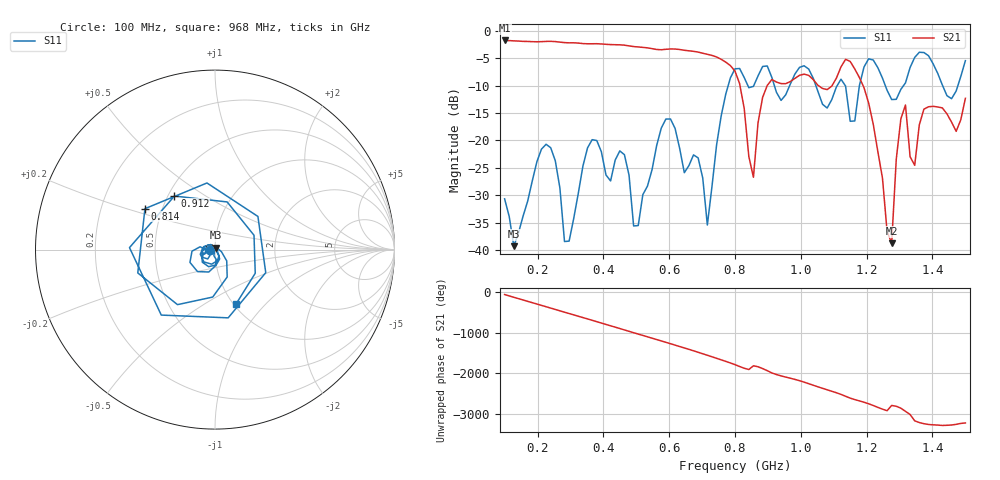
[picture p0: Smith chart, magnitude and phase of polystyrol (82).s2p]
! NanoVNA-App
! Date: 2025-09-26 09:42:31
! Start: 100MHz Stop: 1,5GHz Points: 101
! S-Parameter data: F S11 S21 S12 S22
# Hz S RI R 50
!  Frequency  S11_Real  S11_Imag  S21_Real  S21_Imag  S12_Real  S12_Imag  S22_Real  S22_Imag
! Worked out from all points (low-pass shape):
!   101 points, 100 MHz to 1.5 GHz, reference 50 ohm
!   highest |S21| = -1.79 dB at 100 MHz (marker M1); lowest = -38.7 dB at 1.276 GHz (marker M2)
!   |S21| within 3 dB of the highest: start of sweep to 743.5 MHz
!   lowest |S11| = -39.3 dB at 128 MHz (marker M3), VSWR 1.02, Z = 50.3 + j1.05 ohm
!   |S11| at or under -10 dB: start of sweep to 779.4 MHz; 1.046 GHz to 1.111 GHz (65.06 MHz wide, 6.03 % of centre); 1.257 GHz to 1.312 GHz (55.65 MHz wide, 4.33 % of centre) (the widest 3 of 7)
!   S12 and S22 are empty: the file has one direction only
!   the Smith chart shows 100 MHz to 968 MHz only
!   S11 on the Smith chart (normalised r, x): 100 MHz: 0.94, -0.01; 814 MHz: 0.40, +0.23; 912 MHz: 0.54, +0.37; 968 MHz: 1.02, -0.70
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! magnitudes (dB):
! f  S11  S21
! 100 MHz  -30.7  -1.8
! 128 MHz  -39.3  -1.9
! 212 MHz  -21.6  -2.0
! 282 MHz  -38.4  -2.2
! 338 MHz  -24.7  -2.4
! 464 MHz  -22.6  -2.6
! 506 MHz  -35.5  -3.0
! 576 MHz  -17.8  -3.5
! 688 MHz  -23.2  -3.9
! 716 MHz  -35.4  -4.3
! 800 MHz  -6.9  -7.4
! 814 MHz  -6.9  -9.7
! 856 MHz  -10.2  -26.7
! 912 MHz  -8.5  -8.9
! 968 MHz  -9.7  -9.3
! 1.038 GHz  -8.7  -8.9
! 1.178 GHz  -10.0  -8.6
! 1.276 GHz  -12.6  -38.7
! 1.318 GHz  -9.5  -13.5
! 1.346 GHz  -4.9  -24.5
! 1.374 GHz  -4.0  -14.3
! 1.5 GHz  -5.5  -12.3
